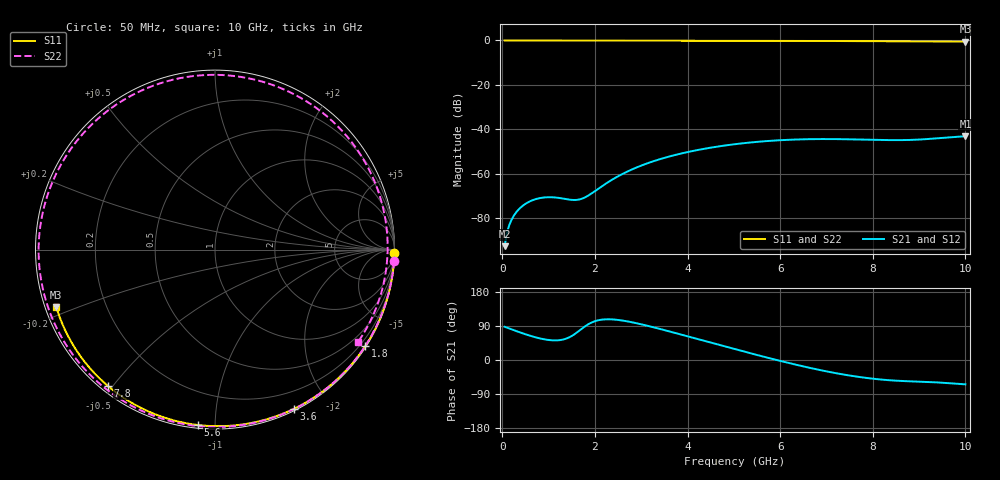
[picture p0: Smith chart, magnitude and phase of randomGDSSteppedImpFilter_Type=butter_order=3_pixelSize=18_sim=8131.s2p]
! freq	dB(S11)	phase(S11)	dB(S12)	phase(S12)
!  dB(S21)	phase(S21)	dB(S22)	phase(S22)
!S-par simulation data
#  GHz  S  DB  R 50
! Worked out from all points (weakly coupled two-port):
!   200 points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, 50 MHz to 10 GHz, reference 50 ohm
!   highest |S21| = -43.07 dB at 10 GHz (marker M1); lowest = -92.6 dB at 50 MHz (marker M2)
!   lowest |S11| = -0.5 dB at 10 GHz (marker M3), VSWR 32.52, Z = 1.59 - j8.77 ohm
!   |S11| at or under -10 dB: nowhere
!   |S22| runs from -0.5 to 0.0 dB; largest |S21 - S12| = 0
!   S11 on the Smith chart (normalised r, x): 50 MHz: open; 1.8 GHz: 0.03, -3.40; 3.6 GHz: 0.02, -1.61; 5.6 GHz: 0.02, -0.91; 7.8 GHz: 0.02, -0.49; 10 GHz: 0.03, -0.18
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0.05  -0.00 -0.9  -92.55 87.7  -92.55 87.7  -0.00 -3.8
0.2  -0.00 -3.7  -80.66 80.9  -80.66 80.9  -0.02 -15.0
0.45  -0.01 -8.3  -74.24 70.0  -74.24 70.0  -0.05 -33.2
0.9  -0.02 -16.5  -70.65 54.7  -70.65 54.7  -0.08 -64.1
1.3  -0.03 -23.8  -71.09 53.7  -71.09 53.7  -0.10 -88.8
1.55  -0.04 -28.3  -71.78 67.2  -71.78 67.2  -0.11 -102.8
1.75  -0.04 -31.9  -70.95 85.5  -70.95 85.5  -0.12 -113.2
1.8  -0.04 -32.8  -70.45 89.9  -70.45 89.9  -0.12 -115.8
2.15  -0.05 -39.0  -65.62 106.5  -65.62 106.5  -0.13 -132.5
2.55  -0.06 -46.0  -60.55 104.9  -60.55 104.9  -0.13 -149.9
2.95  -0.07 -52.8  -56.71 95.6  -56.71 95.6  -0.14 -165.8
3.4  -0.08 -60.4  -53.44 82.1  -53.44 82.1  -0.15 177.5
3.6  -0.09 -63.8  -52.24 75.7  -52.24 75.7  -0.16 170.4
4.3  -0.11 -75.2  -48.96 52.5  -48.96 52.5  -0.18 146.5
5.05  -0.13 -87.1  -46.60 27.7  -46.60 27.7  -0.20 121.8
5.6  -0.16 -95.6  -45.45 10.1  -45.45 10.1  -0.22 103.9
6.15  -0.19 -103.9  -44.72 -6.8  -44.72 -6.8  -0.24 86.0
6.7  -0.22 -112.1  -44.39 -22.4  -44.39 -22.4  -0.25 68.1
7.8  -0.30 -128.1  -44.61 -46.3  -44.61 -46.3  -0.28 32.6
8.35  -0.35 -136.0  -44.82 -53.3  -44.82 -53.3  -0.31 15.3
9.15  -0.43 -147.6  -44.40 -57.7  -44.40 -57.7  -0.36 -8.9
10  -0.53 -160.1  -43.07 -64.1  -43.07 -64.1  -0.46 -33.1
